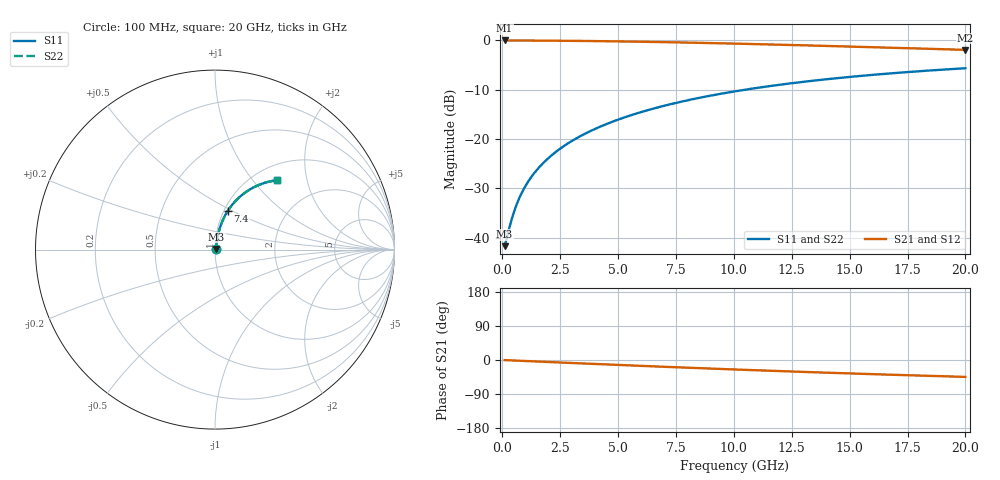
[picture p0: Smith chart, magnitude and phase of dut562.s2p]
! Touchstone file exported from HFSS 2024.1.0
!  File:  C:/UserFiles/LocalFiles/RDL_TSV_Batchsim/temp_RDL_top_562_1779681338.aedt
!  Generated:  11:58:03 AM May 25, 2026
!  Design:  RDL_top
!  Project:  temp_RDL_top_562_1779681338
!  Setup:  Setup1
!  Solution:  Sweep
! Variables:
!  dtsv = 10.80580581um
!  hbump = 3um
!  htsv = 91.77um
!  ldown = 100um
!  lrdl = 522.13um
!  p = 40
!  p1 = 56.33um
!  rhole = 1um
!  t = 450um
!  tdown = 3.915915916um
!  trdl = 2.06um
!  wdown = 15.38538539um
!  wrdl = 12.03um
# GHz S MA R 50.000000
! Terminal data exported
! Port[1] = Box2_T1
! Port[2] = Box2_T2
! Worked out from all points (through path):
!   200 points, 100 MHz to 20 GHz, reference 50 ohm
!   highest |S21| = -0.07 dB at 100 MHz (marker M1); lowest = -2.0 dB at 20 GHz (marker M2)
!   group delay of S21, straight-line fit = 6.21 ps
!   lowest |S11| = -41.7 dB at 100 MHz (marker M3), VSWR 1.02, Z = 50.8 + j0.333 ohm
!   |S11| at or under -10 dB: start of sweep to 10.52 GHz
!   |S22| runs from -41.7 to -5.7 dB; largest |S21 - S12| = 2.6e-15
!   S11 on the Smith chart (normalised r, x): 100 MHz: 1.02, +0.01; 7.4 GHz: 1.04, +0.48; 20 GHz: 1.27, +1.34
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0.1  0.008244 23.4  0.9924 -0.3  0.9924 -0.3  0.008244 23.4
! Gamma 0 0 0 0
! Port Impedance 50 0 50 0
0.4  0.01526 58.7  0.9921 -1.1  0.9921 -1.1  0.01526 58.7
0.6  0.02118 66.8  0.9918 -1.6  0.9918 -1.6  0.02118 66.8
0.7  0.02422 69.2  0.9916 -1.9  0.9916 -1.9  0.02422 69.2
0.9  0.03037 72.4  0.9911 -2.4  0.9911 -2.4  0.03037 72.4
1.2  0.03963 75.1  0.9904 -3.2  0.9904 -3.2  0.03963 75.1
1.4  0.04581 76.2  0.9898 -3.7  0.9898 -3.7  0.04581 76.2
1.7  0.05509 77.2  0.9889 -4.5  0.9889 -4.5  0.05509 77.2
2.2  0.07058 78.0  0.9871 -5.8  0.9871 -5.8  0.07058 78.0
2.8  0.08918 78.2  0.9846 -7.4  0.9846 -7.4  0.08919 78.2
3.5  0.1109 77.7  0.9811 -9.2  0.9811 -9.2  0.1109 77.8
4.2  0.1325 77.0  0.9769 -11.0  0.9769 -11.0  0.1325 77.0
5  0.157 75.8  0.9714 -13.0  0.9714 -13.0  0.157 75.8
5.9  0.1843 74.3  0.9643 -15.3  0.9643 -15.3  0.1843 74.3
6.8  0.2112 72.7  0.9563 -17.5  0.9563 -17.5  0.2113 72.7
7.4  0.2289 71.6  0.9506 -18.9  0.9506 -18.9  0.2289 71.6
8.7  0.2663 69.1  0.9372 -22.0  0.9372 -22.0  0.2663 69.1
10.1  0.3049 66.3  0.9216 -25.2  0.9216 -25.2  0.3049 66.3
11.7  0.3467 63.1  0.9025 -28.7  0.9025 -28.7  0.3468 63.1
13.4  0.3882 59.8  0.8813 -32.3  0.8813 -32.3  0.3883 59.8
16.7  0.4598 53.7  0.8391 -38.7  0.8391 -38.7  0.4598 53.7
20  0.5197 48.1  0.7973 -44.6  0.7973 -44.6  0.5198 48.1
